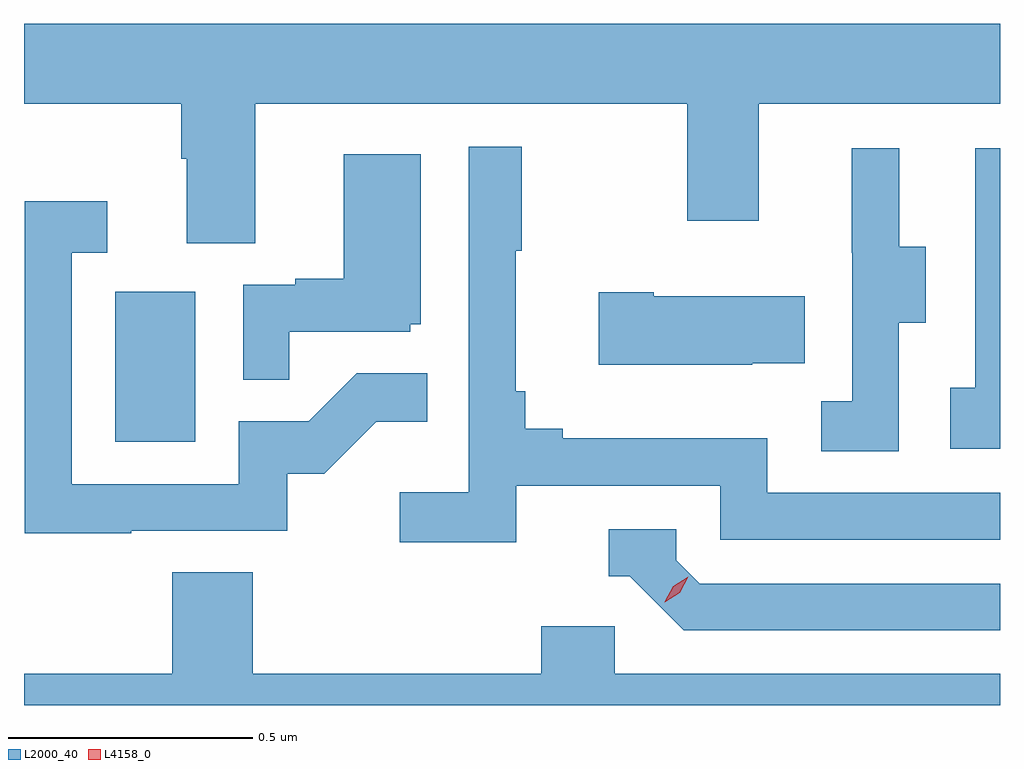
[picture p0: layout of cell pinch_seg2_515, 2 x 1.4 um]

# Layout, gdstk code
import gdstk
lib = gdstk.Library(unit=1e-6, precision=1e-09)
def R(c, l, rs):  # rectangles x0, y0, x1, y1
    for r in rs: c.add(gdstk.rectangle(r[:2], r[2:], *l))
def P(c, l, *ps):  # polygons
    for p in ps: c.add(gdstk.Polygon(p, *l))
L2000_40 = (2000, 40)
L4158_0 = (4158, 0)

pinch_seg2_515 = lib.new_cell('pinch_seg2_515')
R(pinch_seg2_515, L2000_40, [(972.512,584.34,972.676,584.647)])
P(pinch_seg2_515, L2000_40, [(972.799,585.032),(973.684,585.032),(973.684,584.793),(973.831,584.793),(973.831,585.032),(974.325,585.032),(974.325,585.196),(972.325,585.196),(972.325,585.032),(972.647,585.032),(972.647,584.92),(972.659,584.92),(972.659,584.746),(972.799,584.746)],
  [(973.334,584.25),(973.752,584.25),(973.752,584.139),(974.325,584.139),(974.325,584.235),(973.848,584.235),(973.848,584.347),(973.429,584.347),(973.429,584.366),(973.352,584.366),(973.352,584.443),(973.333,584.443),(973.333,584.731),(973.345,584.731),(973.345,584.944),(973.236,584.944),(973.236,584.236),(973.095,584.236),(973.095,584.134),(973.334,584.134)],
  [(974.325,584.941),(974.274,584.941),(974.274,584.45),(974.223,584.45),(974.223,584.325),(974.325,584.325)],
  [(974.118,584.584),(974.173,584.584),(974.173,584.739),(974.119,584.739),(974.119,584.941),(974.021,584.941),(974.021,584.727),(974.022,584.727),(974.022,584.423),(973.959,584.423),(973.959,584.32),(974.118,584.32)],
  [(972.869,584.565),(973.116,584.565),(973.116,584.58),(973.138,584.58),(973.138,584.929),(972.98,584.929),(972.98,584.674),(972.881,584.674),(972.881,584.661),(972.774,584.661),(972.774,584.467),(972.869,584.467)],
  [(972.545,584.157),(972.864,584.157),(972.864,584.274),(972.94,584.274),(973.047,584.381),(973.151,584.381),(973.151,584.48),(973.007,584.48),(972.909,584.382),(972.765,584.382),(972.765,584.253),(972.423,584.253),(972.423,584.727),(972.496,584.727),(972.496,584.833),(972.327,584.833),(972.327,584.152),(972.545,584.152)],
  [(973.817,584.501),(973.925,584.501),(973.925,584.638),(973.615,584.638),(973.615,584.646),(973.503,584.646),(973.503,584.498),(973.817,584.498)],
  [(974.325,584.049),(973.71,584.049),(973.662,584.097),(973.662,584.16),(973.523,584.16),(973.523,584.064),(973.566,584.064),(973.677,583.953),(974.325,583.953)],
  [(974.325,583.864),(973.536,583.864),(973.536,583.962),(973.385,583.962),(973.385,583.864),(972.794,583.864),(972.794,584.072),(972.629,584.072),(972.629,583.864),(972.325,583.864),(972.325,583.8),(974.325,583.8)])
P(pinch_seg2_515, L4158_0, [(973.638,584.011),(973.638,584.012),(973.655,584.044),(973.686,584.063),(973.686,584.063),(973.686,584.063),(973.669,584.03),(973.638,584.011)])

lib.write_gds('pinch_seg2_515.gds')
